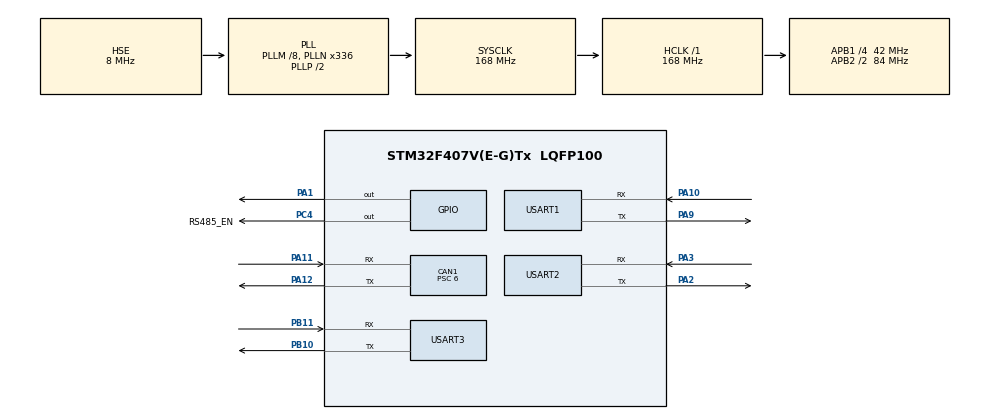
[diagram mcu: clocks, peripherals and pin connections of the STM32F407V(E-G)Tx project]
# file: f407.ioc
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CAN1.ABOM=ENABLE
CAN1.AWUM=ENABLE
CAN1.BS1=CAN_BS1_11TQ
CAN1.BS2=CAN_BS2_2TQ
CAN1.CalculateBaudRate=500000
CAN1.CalculateTimeBit=2000
CAN1.CalculateTimeQuantum=142.85714285714286
CAN1.Mode=CAN_MODE_NORMAL
CAN1.Prescaler=6
Dma.Request0=USART2_RX
Dma.Request1=USART2_TX
Dma.USART2_RX.0.Direction=DMA_PERIPH_TO_MEMORY
Dma.USART2_RX.0.FIFOMode=DMA_FIFOMODE_DISABLE
Dma.USART2_RX.0.Instance=DMA1_Stream5
Dma.USART2_RX.0.MemDataAlignment=DMA_MDATAALIGN_BYTE
Dma.USART2_RX.0.MemInc=DMA_MINC_ENABLE
Dma.USART2_RX.0.Mode=DMA_CIRCULAR
Dma.USART2_RX.0.PeriphDataAlignment=DMA_PDATAALIGN_BYTE
Dma.USART2_RX.0.PeriphInc=DMA_PINC_DISABLE
Dma.USART2_RX.0.Priority=DMA_PRIORITY_LOW
Dma.USART2_TX.1.Direction=DMA_MEMORY_TO_PERIPH
Dma.USART2_TX.1.FIFOMode=DMA_FIFOMODE_DISABLE
Dma.USART2_TX.1.Instance=DMA1_Stream6
Dma.USART2_TX.1.MemDataAlignment=DMA_MDATAALIGN_BYTE
Dma.USART2_TX.1.MemInc=DMA_MINC_ENABLE
Dma.USART2_TX.1.Mode=DMA_NORMAL
Dma.USART2_TX.1.PeriphDataAlignment=DMA_PDATAALIGN_BYTE
Dma.USART2_TX.1.PeriphInc=DMA_PINC_DISABLE
Dma.USART2_TX.1.Priority=DMA_PRIORITY_LOW
Mcu.Family=STM32F4
Mcu.Name=STM32F407V(E-G)Tx
Mcu.Package=LQFP100
NVIC.CAN1_RX0_IRQn=true\:5\:0\:true\:false\:true\:true\:true\:true
NVIC.DMA1_Stream5_IRQn=true\:0\:0\:false\:false\:true\:false\:true\:true
NVIC.DMA1_Stream6_IRQn=true\:0\:0\:false\:false\:true\:false\:true\:true
NVIC.PriorityGroup=NVIC_PRIORITYGROUP_4
NVIC.TIM6_DAC_IRQn=true\:15\:0\:false\:false\:true\:false\:true\:true
NVIC.TimeBase=TIM6_DAC_IRQn
NVIC.TimeBaseIP=TIM6
NVIC.USART2_IRQn=true\:7\:0\:true\:false\:true\:true\:true\:true
NVIC.USART3_IRQn=true\:0\:0\:false\:false\:true\:true\:true\:true
PA1.GPIO_Speed=GPIO_SPEED_FREQ_HIGH
PA1.PinState=GPIO_PIN_SET
PA1.Signal=GPIO_Output
PA10.Mode=Asynchronous
PA10.Signal=USART1_RX
PA11.Mode=CAN_Activate
PA11.Signal=CAN1_RX
PA12.Mode=CAN_Activate
PA12.Signal=CAN1_TX
PA13.Mode=Serial_Wire
PA13.Signal=SYS_JTMS-SWDIO
PA14.Mode=Serial_Wire
PA14.Signal=SYS_JTCK-SWCLK
PA2.Mode=Asynchronous
PA2.Signal=USART2_TX
PA3.Mode=Asynchronous
PA3.Signal=USART2_RX
PA9.Mode=Asynchronous
PA9.Signal=USART1_TX
PB10.Mode=Asynchronous
PB10.Signal=USART3_TX
PB11.Mode=Asynchronous
PB11.Signal=USART3_RX
PC4.GPIO_Label=RS485_EN
PC4.GPIO_Speed=GPIO_SPEED_FREQ_HIGH
PC4.Signal=GPIO_Output
PH0-OSC_IN.Mode=HSE-External-Oscillator
PH0-OSC_IN.Signal=RCC_OSC_IN
PH1-OSC_OUT.Mode=HSE-External-Oscillator
PH1-OSC_OUT.Signal=RCC_OSC_OUT
ProjectManager.HeapSize=0x200
ProjectManager.StackSize=0x400
ProjectManager.TargetToolchain=MDK-ARM V5.32
RCC.48MHZClocksFreq_Value=84000000
RCC.AHBFreq_Value=168000000
RCC.APB1CLKDivider=RCC_HCLK_DIV4
RCC.APB1Freq_Value=42000000
RCC.APB1TimFreq_Value=84000000
RCC.APB2CLKDivider=RCC_HCLK_DIV2
RCC.APB2Freq_Value=84000000
RCC.APB2TimFreq_Value=168000000
RCC.CortexFreq_Value=168000000
RCC.HCLKFreq_Value=168000000
RCC.HSE_VALUE=8000000
RCC.HSI_VALUE=16000000
RCC.LSE_VALUE=32768
RCC.PLLM=8
RCC.PLLN=336
RCC.PLLSourceVirtual=RCC_PLLSOURCE_HSE
RCC.SYSCLKFreq_VALUE=168000000
RCC.SYSCLKSource=RCC_SYSCLKSOURCE_PLLCLK
RCC.VCOOutputFreq_Value=336000000
USART1.VirtualMode=VM_ASYNC
USART2.VirtualMode=VM_ASYNC
USART3.VirtualMode=VM_ASYNC
VP_SYS_VS_tim6.Mode=TIM6
board=custom

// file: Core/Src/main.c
/* USER CODE BEGIN Header */
/**
  ******************************************************************************
  * @file           : main.c
  * @brief          : Main program body
  ******************************************************************************
  * @attention
  *
  * Copyright (c) 2026 STMicroelectronics.
  * All rights reserved.
  *
  * This software is licensed under terms that can be found in the LICENSE file
  * in the root directory of this software component.
  * If no LICENSE file comes with this software, it is provided AS-IS.
  *
  ******************************************************************************
  */
/* USER CODE END Header */
#include "main.h"
#include "can.h"
#include "dma.h"
#include "usart.h"
#include "gpio.h"

/* USER CODE BEGIN Includes */
#include "FreeRTOS.h"
#include "task.h"
#include "app_rtos.h"
#include "Int_can.h"
#include "string.h"
#include <stdio.h>

/* OTA：分区表、跳转、参数区 */
#include "boot_partition.h"
#include "boot_loader.h"
#include "boot_param.h"

/* 外部 SPI Flash（OTA 固件暂存区） */
#include "w25q16.h"

/* USER CODE END Includes */

/* USER CODE BEGIN PD */

/* OTA 启动方式：
 *   1 = 由 Bootloader 启动，App 链接在 0x0800C000（App A 区）
 *   0 = 独立运行，App 链接在 0x08000000（只用 Keil 调试时的临时模式）
 *
 * 注意：这个宏必须和 Keil 工程里的 IROM1 起始地址保持一致，否则 VTOR 指向错误。 */
#define APP_RUN_BY_BOOTLOADER   1

/* W25Q16 上电自检开关：验证硬件时开 1，正式跑 OTA 前改成 0
 * （自检会擦掉扇区 0，别让它每次上电都清一遍） */
#define W25Q16_RUN_SELFTEST     0

/* USER CODE END PD */

/* USER CODE BEGIN PV */

/* 独立看门狗：LSI 32kHz / 64 分频 = 500Hz，重装载 4095 → 超时约 8.2s
 * 本工程未包含 stm32f4xx_hal_iwdg 驱动，直接操作寄存器（更精简，也不受 CubeMX 覆盖影响） */
#define IWDG_KEY_RELOAD              0xAAAAU   /* 喂狗 */
#define IWDG_KEY_ENABLE              0xCCCCU   /* 启动看门狗 */
#define IWDG_KEY_WRITE_ACCESS_ENABLE 0x5555U   /* 解锁 PR/RLR 写保护 */

/* USER CODE END PV */

void SystemClock_Config(void);

int main(void)
{
  /* USER CODE BEGIN 1 */

#if APP_RUN_BY_BOOTLOADER
  /* 由 Bootloader 启动：复位后 VTOR 指向 0x08000000（Bootloader 的向量表），
   * 必须第一时间重映射，否则 SysTick / 串口中断会跳进 Bootloader 的向量表跑飞。
   * 放在 HAL_Init 之前 —— 越早越好。
   *
   * 注意不能写死 App A：Bootloader 可能跳到 B 区运行。而 B 区运行时如果
   * VTOR 还指着 A，OTA 一擦 A 的扇区（Sector 3/4）向量表就没了，
   * 下一个中断进来直接 HardFault（实机就是这么挂的：B→A 升级擦完扇区就复位）。
   * 所以按参数区记录的 active_slot 来设；参数区无效时（首次烧录）退回 A。 */
  {
    boot_param_t bp;
    uint32_t slot_base = APP_A_BASE_ADDR;

    if (boot_param_read(&bp)) slot_base = BOOT_SLOT_ADDR(bp.active_slot);
    boot_app_set_vtor(slot_base);
  }

  /* 清掉 Bootloader 遗留的 SysTick（HAL_RCC_DeInit 里被重新打开过）。
   * 必须在任何 __enable_irq() 之前执行，否则会立刻进 FreeRTOS 的 tick 中断，
   * 而此时调度器还没启动，直接 HardFault。 */
  boot_app_disable_systick();
#endif

  /* CPU 状态交接：除了 PRIMASK，BASEPRI 也要清干净。
   * BASEPRI 是"优先级屏蔽"：数值 ≥ BASEPRI 的中断被挡住。FreeRTOS 的临界区用
   * configMAX_SYSCALL_INTERRUPT_PRIORITY = 5<<4 = 0x50 屏蔽低优先级中断，
   * 而 HAL 时基 TIM6 的优先级是 15（最低）—— 只要 BASEPRI 残留 0x50，
   * TIM6 中断就永远进不来，HAL_GetTick 冻结，所有 AT 超时死等。
   * 复位值本该是 0，这里做一次兜底，确保不依赖 Bootloader 是否干净。 */
  __set_BASEPRI(0U);

  /* USER CODE END 1 */

  /* MCU Configuration--------------------------------------------------------*/

  /* Reset of all peripherals, Initializes the Flash interface and the Systick. */
  HAL_Init();

  /* Configure the system clock */
  SystemClock_Config();

  /* Initialize all configured peripherals */
  MX_GPIO_Init();
  MX_DMA_Init();
  MX_USART1_UART_Init();
  MX_CAN1_Init();
  MX_USART2_UART_Init();
  MX_USART3_UART_Init();
  /* USER CODE BEGIN 2 */
  Print_Reset_Cause();                       /* 打印本次复位原因，便于判断是否被看门狗复位 */

  Int_can_init();
  __enable_irq();

  /* 外部 Flash 自检（放在开中断之后：wait_ready 的 3s 超时依赖 HAL_GetTick，
   * 而 HAL_GetTick 靠 TIM6 中断累加，中断关着的话超时判断不会生效） */
  w25q16_init();
#if W25Q16_RUN_SELFTEST
  w25q16_selftest();
#endif

  /* 启动独立看门狗：必须在 RTOS 任务开始喂狗前启动（App_RTOS_Init 内创建监控任务） */
  MX_IWDG_Init();

  printf("--- F407 Gateway Started ---\r\n");

#if APP_RUN_BY_BOOTLOADER
  /* 走到这里说明外设都初始化完了，算"自检通过"：
   * 清启动计数、清升级标志，Bootloader 下次就不会再回滚。 */
  boot_param_mark_ok();
#endif

  /* 内部调用 vTaskStartScheduler()，正常情况不会返回 */
  App_RTOS_Init();
  /* USER CODE END 2 */

  /* Infinite loop */
  /* USER CODE BEGIN WHILE */
  while (1)
  {
    /* 业务逻辑已全部移入 RTOS 任务（DataProc / RS485Proc / GwCmd）。
       此循环仅在调度器异常返回时兜底。 */
  }
    /* USER CODE END WHILE */

}

void SystemClock_Config(void)
{
  RCC_OscInitTypeDef RCC_OscInitStruct = {0};
  RCC_ClkInitTypeDef RCC_ClkInitStruct = {0};

  /** Configure the main internal regulator output voltage
  */
  __HAL_RCC_PWR_CLK_ENABLE();
  __HAL_PWR_VOLTAGESCALING_CONFIG(PWR_REGULATOR_VOLTAGE_SCALE1);

  /** Initializes the RCC Oscillators according to the specified parameters
  * in the RCC_OscInitTypeDef structure.
  */
  RCC_OscInitStruct.OscillatorType = RCC_OSCILLATORTYPE_HSE;
  RCC_OscInitStruct.HSEState = RCC_HSE_ON;
  RCC_OscInitStruct.PLL.PLLState = RCC_PLL_ON;
  RCC_OscInitStruct.PLL.PLLSource = RCC_PLLSOURCE_HSE;
  RCC_OscInitStruct.PLL.PLLM = 8;
  RCC_OscInitStruct.PLL.PLLN = 336;
  RCC_OscInitStruct.PLL.PLLP = RCC_PLLP_DIV2;
  RCC_OscInitStruct.PLL.PLLQ = 4;
  if (HAL_RCC_OscConfig(&RCC_OscInitStruct) != HAL_OK)
  {
    Error_Handler();
  }

  /** Initializes the CPU, AHB and APB buses clocks
  */
  RCC_ClkInitStruct.ClockType = RCC_CLOCKTYPE_HCLK|RCC_CLOCKTYPE_SYSCLK
                              |RCC_CLOCKTYPE_PCLK1|RCC_CLOCKTYPE_PCLK2;
  RCC_ClkInitStruct.SYSCLKSource = RCC_SYSCLKSOURCE_PLLCLK;
  RCC_ClkInitStruct.AHBCLKDivider = RCC_SYSCLK_DIV1;
  RCC_ClkInitStruct.APB1CLKDivider = RCC_HCLK_DIV4;
  RCC_ClkInitStruct.APB2CLKDivider = RCC_HCLK_DIV2;

  if (HAL_RCC_ClockConfig(&RCC_ClkInitStruct, FLASH_LATENCY_5) != HAL_OK)
  {
    Error_Handler();
  }
}

/* USER CODE BEGIN 4 */

/**
  * @brief  独立看门狗初始化：系统跑飞/任务集体卡死时自动复位恢复
  * @note   IWDG 使用 LSI（约 32kHz），一旦启动无法软件停止，只能复位。
  *         超时 ≈ 4095 / (32000/64) ≈ 8.2s，喂狗由 Watchdog 监控任务负责。
  *
  *         本板实测：PR/RLR 写入后 PVU/RVU 同步标志一直不清（PR 回读为 0），
  *         说明 LSI 时钟没有真正输出。此时若强行启动，IWDG 会按默认 /4 分频
  *         跑出约 0.5s 的超时，导致系统不停复位。所以同步失败时宁可不启动。
  */
void MX_IWDG_Init(void)
{
  uint32_t spin;

  /* 1. 使能 LSI 并等待就绪（有界等待，不依赖 HAL 时基） */
  __HAL_RCC_LSI_ENABLE();
  for (spin = 0U; spin < 200000U; spin++)
  {
    if (RCC->CSR & RCC_CSR_LSIRDY) break;
  }
  if ((RCC->CSR & RCC_CSR_LSIRDY) == 0U)
  {
    printf("[IWDG] LSI not ready, watchdog skipped\r\n");
    return;
  }

  /* 2. 解锁并配置：LSI/64 = 500Hz，4095 个计数 ≈ 8.2s */
  IWDG->KR  = IWDG_KEY_WRITE_ACCESS_ENABLE;  /* 解锁，允许写 PR / RLR */
  IWDG->PR  = 4;                             /* 预分频 4 → LSI/64 = 500Hz */
  IWDG->RLR = 4095;                          /* 4095/500 ≈ 8.2s */

  /* 3. 等 PVU / RVU 同步完成（同样用有界等待） */
  for (spin = 0U; spin < 200000U; spin++)
  {
    if ((IWDG->SR & (IWDG_SR_PVU | IWDG_SR_RVU)) == 0U) break;
  }

  if ((IWDG->SR & (IWDG_SR_PVU | IWDG_SR_RVU)) != 0U)
  {
    /* 配置没落进 IWDG：启动会按默认 /4 分频跑 ~0.5s，必然误复位 */
    printf("[IWDG] PVU/RVU stuck (LSI dead?), watchdog skipped\r\n");
    return;
  }

  /* 4. 先喂一次，再启动（启动后无法软件关闭） */
  IWDG->KR = IWDG_KEY_RELOAD;
  IWDG->KR = IWDG_KEY_ENABLE;

  printf("[IWDG] enabled, timeout ~8.2s (PR=%lu RLR=%lu)\r\n",
         (unsigned long)IWDG->PR, (unsigned long)IWDG->RLR);
}

/**
  * @brief  打印本次复位原因并清除标志
  * @note   上电/按复位键 = POWER-ON + PIN；看门狗复位 = IWDG
  */
void Print_Reset_Cause(void)
{
  uint32_t csr = RCC->CSR;

  printf("[RST] cause:");

  if (csr & RCC_CSR_IWDGRSTF) printf(" IWDG");
  if (csr & RCC_CSR_WWDGRSTF) printf(" WWDG");
  if (csr & RCC_CSR_SFTRSTF)  printf(" SOFTWARE");
  if (csr & RCC_CSR_PORRSTF)  printf(" POWER-ON");
  if (csr & RCC_CSR_PINRSTF)  printf(" NRST-PIN");
  if (csr & RCC_CSR_BORRSTF)  printf(" BOR");

  printf("\r\n");

  RCC->CSR |= RCC_CSR_RMVF;   /* 清标志，避免下次误判 */
}

/**
  * @brief  喂狗：由 Watchdog 监控任务在确认所有业务任务存活后调用
  */
void IWDG_Feed(void)
{
  IWDG->KR = IWDG_KEY_RELOAD;
}

/* USER CODE END 4 */

void HAL_TIM_PeriodElapsedCallback(TIM_HandleTypeDef *htim)
{
  if (htim->Instance == TIM6) {
    HAL_IncTick();
  }
}

void Error_Handler(void)
{
  __disable_irq();
  while (1)
  {
  }
}
